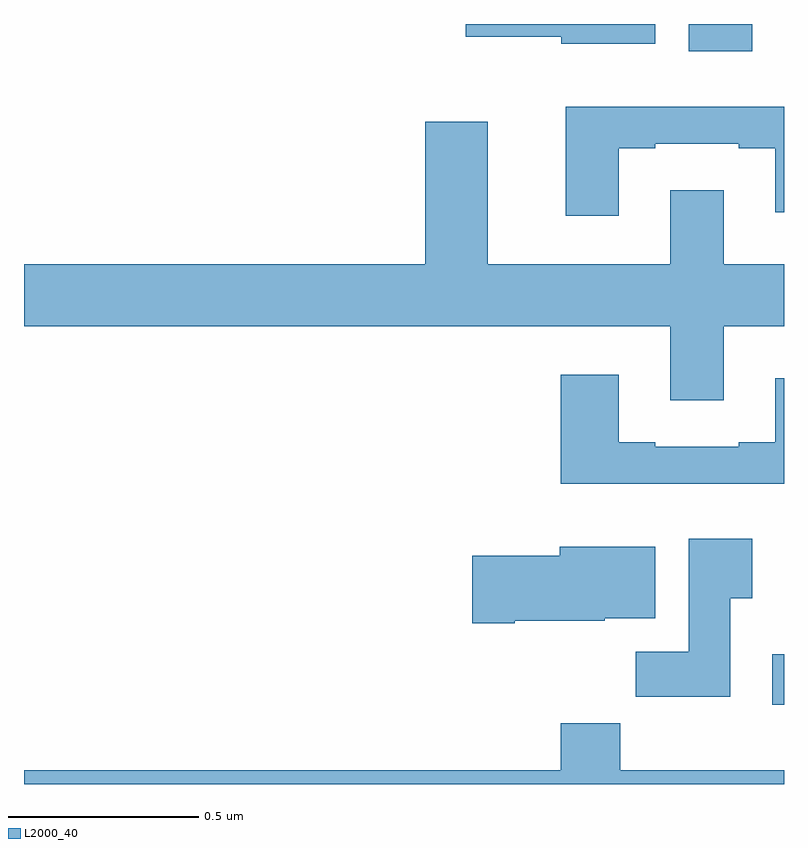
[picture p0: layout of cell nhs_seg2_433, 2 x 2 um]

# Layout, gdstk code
import gdstk
lib = gdstk.Library(unit=1e-6, precision=1e-09)
def R(c, l, rs):  # rectangles x0, y0, x1, y1
    for r in rs: c.add(gdstk.rectangle(r[:2], r[2:], *l))
def P(c, l, *ps):  # polygons
    for p in ps: c.add(gdstk.Polygon(p, *l))
L2000_40 = (2000, 40)

nhs_seg2_433 = lib.new_cell('nhs_seg2_433')
R(nhs_seg2_433, L2000_40, [(117.969,612.008,118,612.142), (117.749,613.728,117.916,613.8)])
P(nhs_seg2_433, L2000_40, [(117.661,613.8),(117.162,613.8),(117.162,613.766),(117.414,613.766),(117.414,613.748),(117.661,613.748)],
  [(117.565,613.473),(117.661,613.473),(117.661,613.485),(117.881,613.485),(117.881,613.473),(117.977,613.473),(117.977,613.304),(118,613.304),(118,613.582),(117.425,613.582),(117.425,613.296),(117.565,613.296)],
  [(117.841,613.004),(118,613.004),(118,613.168),(117.841,613.168),(117.841,613.363),(117.701,613.363),(117.701,613.168),(117.22,613.168),(117.22,613.543),(117.056,613.543),(117.056,613.168),(116,613.168),(116,613.004),(117.701,613.004),(117.701,612.81),(117.841,612.81)],
  [(118,612.868),(117.977,612.868),(117.977,612.7),(117.881,612.7),(117.881,612.687),(117.661,612.687),(117.661,612.7),(117.565,612.7),(117.565,612.877),(117.413,612.877),(117.413,612.59),(118,612.59)],
  [(117.859,612.289),(117.916,612.289),(117.916,612.445),(117.749,612.445),(117.749,612.148),(117.61,612.148),(117.61,612.03),(117.859,612.03)],
  [(117.292,612.23),(117.528,612.23),(117.528,612.236),(117.661,612.236),(117.661,612.424),(117.41,612.424),(117.41,612.401),(117.18,612.401),(117.18,612.223),(117.292,612.223)],
  [(118,611.836),(117.569,611.836),(117.569,611.96),(117.413,611.96),(117.413,611.836),(116,611.836),(116,611.8),(118,611.8)])

lib.write_gds('nhs_seg2_433.gds')
